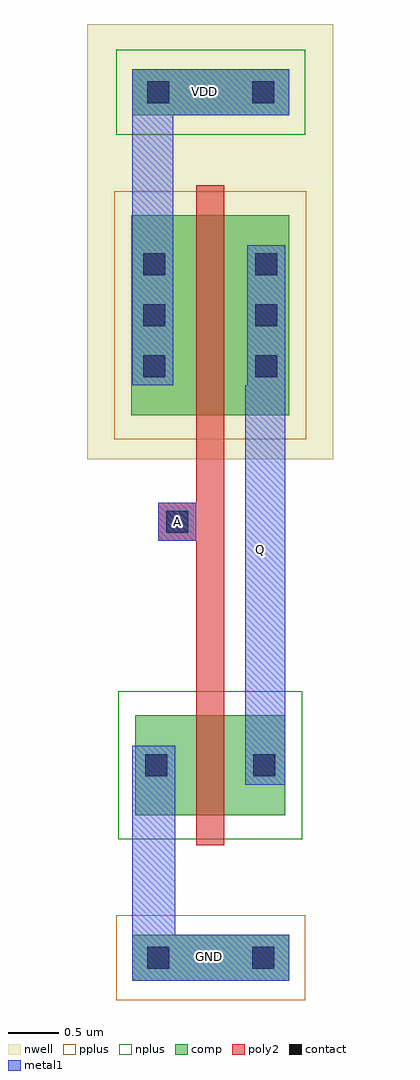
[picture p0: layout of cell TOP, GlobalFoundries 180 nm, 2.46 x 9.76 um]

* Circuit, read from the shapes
.subckt TOP A GND Q VDD
XM1 Q A GND GND nfet_03v3 w=1u l=0.28u
XM2 Q A VDD VDD pfet_03v3 w=2u l=0.28u
.ends

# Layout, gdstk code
import gdstk
lib = gdstk.Library(unit=1e-6, precision=1e-09)
def R(c, l, rs):  # rectangles x0, y0, x1, y1
    for r in rs: c.add(gdstk.rectangle(r[:2], r[2:], *l))
def A(c, l, x, y, w, h, nx, ny, dx, dy):  # array of equal rectangles
    R(c, l, [(x+i*dx, y+j*dy, x+i*dx+w, y+j*dy+h) for i in range(nx) for j in range(ny)])
nwell = (21, 0)
comp = (22, 0)
poly2 = (30, 0)
pplus = (31, 0)
nplus = (32, 0)
contact = (33, 0)
metal1 = (34, 0)

top = lib.new_cell('TOP')
R(top, nwell, [(-0.9,3.56,1.56,6.44), (-0.9,6.44,1.56,7.91)])
R(top, comp, [(-0.45,-1.655,1.12,-1.195), (-0.42,0,0,1), (0,0,0.66,1), (0.66,0,1.08,1), (-0.46,4,0,6), (0,4,0.66,6), (0.66,4,1.12,6), (-0.45,7,1.12,7.46)])
R(top, poly2, [(0.19,-0.3,0.47,1.3), (0.19,1.3,0.47,3.7), (-0.19,2.745,0.19,3.125), (0.19,3.7,0.47,6.3)])
R(top, pplus, [(-0.61,-1.85,1.28,-1), (-0.63,3.76,1.29,6.24)])
R(top, nplus, [(-0.59,-0.24,1.25,1.24), (-0.61,6.805,1.28,7.655)])
A(top, contact, -0.34, 4.38, 0.22, 0.22, 1, 3, 0, 0.51)
A(top, contact, 0.78, 4.38, 0.22, 0.22, 1, 3, 0, 0.51)
R(top, contact, [(-0.3,-1.535,-0.08,-1.315), (0.75,-1.535,0.97,-1.315), (-0.32,0.39,-0.1,0.61), (0.76,0.39,0.98,0.61), (-0.11,2.825,0.11,3.045), (-0.3,7.12,-0.08,7.34), (0.75,7.12,0.97,7.34)])
R(top, metal1, [(-0.45,-1.655,1.12,-1.195), (-0.45,-1.655,-0.02,0.695), (0.68,0.305,1.08,4.3), (-0.4,0.309,-0.02,0.691), (-0.19,2.745,0.19,3.125), (-0.45,4.3,-0.04,7.46), (0.7,4.3,1.08,5.7), (-0.45,7,1.12,7.46)])
top.add(gdstk.Label('A', (0,2.94), layer=34, texttype=10))
top.add(gdstk.Label('Q', (0.83,2.66), layer=34, texttype=10))
top.add(gdstk.Label('VDD', (0.275,7.24), layer=34, texttype=10))
top.add(gdstk.Label('GND', (0.325,-1.41), layer=34, texttype=10))

lib.write_gds('TOP.gds')
